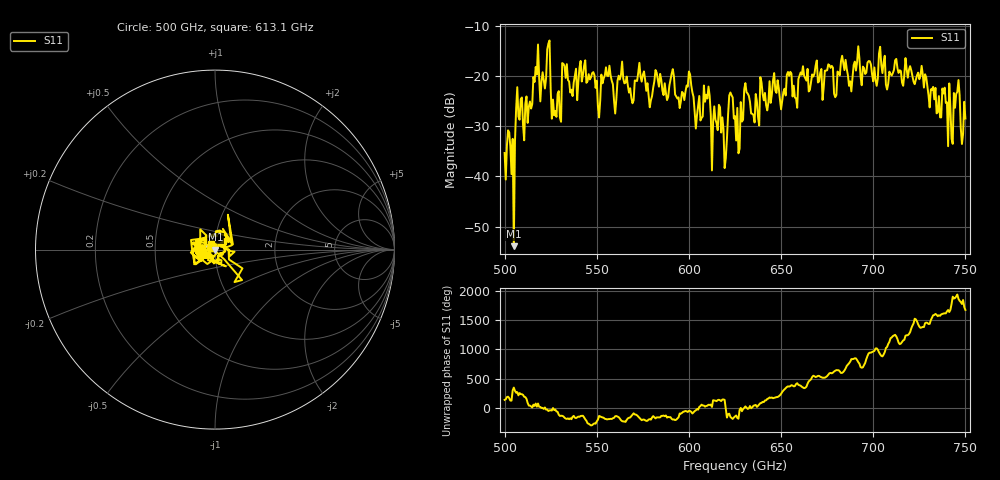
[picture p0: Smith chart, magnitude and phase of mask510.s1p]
!Created with skrf (http://scikit-rf.org).
# GHz S MA R 50.0
!freq magS11 angS11
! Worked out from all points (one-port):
!   401 points, 500 GHz to 750 GHz, reference 50 ohm
!   lowest |S11| = -53.9 dB at 505 GHz (marker M1), VSWR 1.00, Z = 50.2 - j0.0564 ohm
!   |S11| at or under -10 dB: start of sweep to end of sweep
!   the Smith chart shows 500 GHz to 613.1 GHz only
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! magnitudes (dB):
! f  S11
! 500 GHz  -35.3
! 505 GHz  -53.9
! 507.5 GHz  -28.1
! 513.8 GHz  -25.1
! 516.9 GHz  -18.2
! 520.6 GHz  -19.2
! 523.8 GHz  -13.5
! 526.9 GHz  -27.8
! 531.2 GHz  -17.4
! 542.5 GHz  -19.8
! 550.6 GHz  -26.0
! 556.2 GHz  -20.0
! 560 GHz  -27.4
! 562.5 GHz  -20.7
! 590.6 GHz  -19.5
! 593.8 GHz  -24.5
! 609.4 GHz  -23.7
! 619.4 GHz  -38.3
! 622.5 GHz  -23.3
! 625 GHz  -27.9
! 656.2 GHz  -24.0
! 676.9 GHz  -18.3
! 680 GHz  -23.8
! 683.8 GHz  -17.3
! 687.5 GHz  -21.0
! 691.2 GHz  -17.2
! 718.8 GHz  -20.3
! 750 GHz  -28.5
